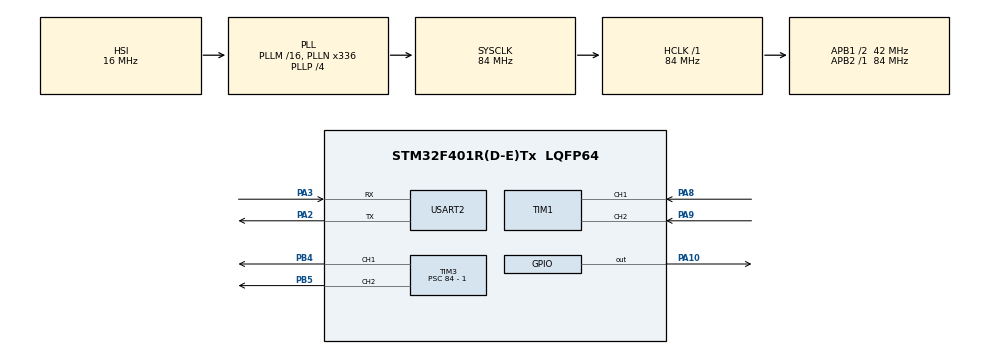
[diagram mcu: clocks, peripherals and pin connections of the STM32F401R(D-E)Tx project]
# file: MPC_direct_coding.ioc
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Mcu.Family=STM32F4
Mcu.Name=STM32F401R(D-E)Tx
Mcu.Package=LQFP64
NVIC.PriorityGroup=NVIC_PRIORITYGROUP_4
PA10.Signal=GPIO_Output
PA2.Mode=Asynchronous
PA2.Signal=USART2_TX
PA3.Mode=Asynchronous
PA3.Signal=USART2_RX
PA8.Signal=S_TIM1_CH1
PA9.Signal=S_TIM1_CH2
PB4.Signal=S_TIM3_CH1
PB5.Signal=S_TIM3_CH2
ProjectManager.HeapSize=0x200
ProjectManager.StackSize=0x400
ProjectManager.TargetToolchain=STM32CubeIDE
RCC.48MHZClocksFreq_Value=84000000
RCC.AHBFreq_Value=84000000
RCC.APB1CLKDivider=RCC_HCLK_DIV2
RCC.APB1Freq_Value=42000000
RCC.APB1TimFreq_Value=84000000
RCC.APB2Freq_Value=84000000
RCC.APB2TimFreq_Value=84000000
RCC.CortexFreq_Value=84000000
RCC.HCLKFreq_Value=84000000
RCC.HSE_VALUE=25000000
RCC.HSI_VALUE=16000000
RCC.LSE_VALUE=32768
RCC.PLLN=336
RCC.PLLP=RCC_PLLP_DIV4
RCC.SYSCLKFreq_VALUE=84000000
RCC.SYSCLKSource=RCC_SYSCLKSOURCE_PLLCLK
RCC.VCOOutputFreq_Value=336000000
SH.S_TIM1_CH1.0=TIM1_CH1,Encoder_Interface
SH.S_TIM1_CH2.0=TIM1_CH2,Encoder_Interface
SH.S_TIM3_CH1.0=TIM3_CH1,PWM Generation1 CH1
SH.S_TIM3_CH2.0=TIM3_CH2,PWM Generation2 CH2
TIM3.AutoReloadPreload=TIM_AUTORELOAD_PRELOAD_ENABLE
TIM3.Channel-PWM\ Generation1\ CH1=TIM_CHANNEL_1
TIM3.Channel-PWM\ Generation2\ CH2=TIM_CHANNEL_2
TIM3.Period=500 - 1
TIM3.Prescaler=84 - 1
USART2.VirtualMode=VM_ASYNC
VP_TIM3_VS_ClockSourceINT.Mode=Internal
board=custom

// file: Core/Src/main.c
/* USER CODE BEGIN Header */
/**
  ******************************************************************************
  * @file           : main.c
  * @brief          : Main program body
  ******************************************************************************
  * @attention
  *
  * Copyright (c) 2022 STMicroelectronics.
  * All rights reserved.
  *
  * This software is licensed under terms that can be found in the LICENSE file
  * in the root directory of this software component.
  * If no LICENSE file comes with this software, it is provided AS-IS.
  *
  ******************************************************************************
  * Digital Control Systems Design project, Model Predictive Control with OSQP, ballast implementation
  * Nicola ROMANO         0622701549  	N.ROMANO24@STUDENTI.UNISA.IT
  * Antonio ROTONDO       0622701489  	A.ROTONDO9@STUDENTI.UNISA.IT
  * Catello SORRENTINO    06227001490 	C.SORRENTINO61@STUDENTI.UNISA.IT
  */
/* USER CODE END Header */
#include "main.h"

/* USER CODE BEGIN Includes */
#include "stdio.h"
#include "stdlib.h"
#include <string.h>
#include "workspace.h"
#include "osqp.h"
#include  <errno.h>
#include  <sys/unistd.h>
#include "math.h"
/* USER CODE END Includes */

 TIM_HandleTypeDef htim1;
TIM_HandleTypeDef htim3;
TIM_HandleTypeDef htim4;

UART_HandleTypeDef huart2;

/* USER CODE BEGIN PV */
double Dumax=3000; // input rate limit
double umax=12;    // max input
double umin=-12;   // min input
double ymax=130;   // max output
double ymin=-130;  // min output

double X[2][5] = {{18.2668,  114.9275,  -11.3576,    0.0000, -103.5699},
                  {16.5646,  103.3782,  -10.2993,    0.0000,  -93.0789}};

double dd[28][1] = {{3000},
                    {3000},
                    {3000},
                    {3000},
                    {12},
                    {12},
                    {12},
                    {12},
                    {130},
                    {130},
                    {130},
                    {130},
                    {130},
                    {130},
                    {130},
                    {130},
                    {130},
                    {130},
                    {130},
                    {130},
                    {130},
                    {130},
                    {130},
                    {130},
                    {130},
                    {130},
                    {130},
                    {130}};

double ddu[28][1] ={{0},
                    {0},
                    {0},
                    {0},
                    {0},
                    {0},
                    {0},
                    {0},
                    {-0.1604},
                    {-0.1764},
                    {-0.1780},
                    {-0.1781},
                    {-0.1782},
                    {-0.1782},
                    {-0.1782},
                    {-0.1782},
                    {-0.1782},
                    {-0.1782},
                    {0.1604},
                    {0.1764},
                    {0.1780},
                    {0.1781},
                    {0.1782},
                    {0.1782},
                    {0.1782},
                    {0.1782},
                    {0.1782},
                    {0.1782}};

double du[28][1] = {{0},
                    {0},
                    {0},
                    {0},
                   {-1},
                   {-1},
                    {1},
                    {1},
                    {0},
                    {0},
                    {0},
                    {0},
                    {0},
                    {0},
                    {0},
                    {0},
                    {0},
                    {0},
                    {0},
                    {0},
                    {0},
                    {0},
                    {0},
                    {0},
                    {0},
                    {0},
                    {0},
                    {0}};

double dy[28][3] = {{0,         0,         0},
                    {0,         0,         0},
                    {0,         0,         0},
                    {0,         0,         0},
                    {0,         0,         0},
                    {0,         0,         0},
                    {0,         0,         0},
                    {0,         0,         0},
              {-1.0997,    0.0997,   -0.0000},
              {-1.1097,    0.1097,   -0.0000},
              {-1.1107,    0.1107,   -0.0000},
              {-1.1108,    0.1108,   -0.0000},
              {-1.1108,    0.1108,   -0.0000},
              {-1.1108,    0.1108,   -0.0000},
              {-1.1108,    0.1108,   -0.0000},
              {-1.1108,    0.1108,   -0.0000},
              {-1.1108,    0.1108,   -0.0000},
              {-1.1108,    0.1108,   -0.0000},
              { 1.0997,   -0.0997,    0.0000},
               {1.1097,   -0.1097,    0.0000},
               {1.1107,   -0.1107,    0.0000},
               {1.1108,   -0.1108,    0.0000},
               {1.1108,   -0.1108,    0.0000},
               {1.1108,   -0.1108,    0.0000},
               {1.1108,   -0.1108,    0.0000},
               {1.1108,   -0.1108,    0.0000},
               {1.1108,   -0.1108,    0.0000},
               {1.1108,   -0.1108,    0.0000}};

double dupast = 0;
double ypast[3][1] = {{0},
					  {0},
					  {0}};

double lastU = 0;
double lastTicks = 0;
double currentTicks = 0;
double Ts = 0.05;
double startTime = 0;
double deltaTime = 0;
double rfut_array[9] = {-130, 80, -60, 30, 0, -30, 60, -80, 200};
long int counterOfIterations = 0;
int reference_index = 0;
/* USER CODE END PV */

void SystemClock_Config(void);
static void MX_GPIO_Init(void);
static void MX_USART2_UART_Init(void);
static void MX_TIM3_Init(void);
static void MX_TIM1_Init(void);

/* USER CODE BEGIN 0 */

//overwrite of printf to write on USART
int _write(int file, char *data, int len) {
	if ((file != STDOUT_FILENO) && (file != STDERR_FILENO)) {
		errno = EBADF;
		return -1;
	}

	// arbitrary timeout 1000
	HAL_StatusTypeDef status = HAL_UART_Transmit(&huart2, (uint8_t*) data, len,
			1000);

	// return # of bytes written - as best we can tell
	return (status == HAL_OK ? len : 0);
}

// upddate ypast matrix
void update_ypast(double val){
    ypast[2][0] = ypast[1][0];
    ypast[1][0] = ypast[0][0];
    ypast[0][0] = val;
}

// set PWM
void setPulseFromDutyValue(double dutyVal) {
	HAL_GPIO_WritePin(GPIOA, GPIO_PIN_10, GPIO_PIN_SET); // enable the motor driver

	uint16_t channelToModulate;
	uint16_t channelToStop;

	if (dutyVal > 0) {
		channelToModulate = TIM_CHANNEL_1;
		channelToStop = TIM_CHANNEL_2;
	} else {
		channelToModulate = TIM_CHANNEL_2;
		channelToStop = TIM_CHANNEL_1;
	}
	__HAL_TIM_SET_COMPARE(&htim3, channelToStop, 0);
	__HAL_TIM_SET_COMPARE(&htim3, channelToModulate, (abs(dutyVal) * ((double )htim3.Init.Period)) / 100); //cast integer value to double to correctly perform division between decimal numbers
}

// get speed by ticks
double getSpeedByDelta(double ticksDelta, double Ts) {
	return ticksDelta * 60 / (3591.84 * Ts);
}

// get ticks in the delta time
double getTicksDelta(double currentTicks, double lastTicks, double Ts) {
	double delta;

	if (abs(currentTicks - lastTicks) <= ceil(8400 * Ts))
		delta = currentTicks - lastTicks;
	else {
		if (lastTicks > currentTicks)
			delta = currentTicks + pow(2, 16) - 1 - lastTicks;
		else
			delta = currentTicks - pow(2, 16) + 1 - lastTicks;
	}
	return delta;
}

// matrix sum
void matsum(int row, int col, double mat1[row][col], double mat2[row][col], double result[row][col]){
   //pre-checks
   assert(row > 0);
   assert(col > 0);

   //function
   for(int i = 0; i<row; i++){
      for(int j = 0; j<col; j++){
         result[i][j] = mat1[i][j] + mat2[i][j];
      }
   }
}

// matrix * scalar product
void scalprod(int row, int col, double scalar, double mat[row][col], double result[row][col]){
   //pre-checks
   assert(row > 0);
   assert(col > 0);

   //function
   for(int i = 0; i<row; i++){
      for(int j = 0; j<col; j++){
         result[i][j] = mat[i][j] * scalar;
      }
   }
}

//matrix product
void matprod(int row1,int col1,int row2,int col2, double mat1[row1][col1], double mat2[row2][col2], double result[row1][col2]){
   //pre-checks
   assert(row1 > 0);
   assert(col1 > 0);
   assert(row2 > 0);
   assert(col2 > 0);
   assert(col1 == row2);

   //function
   for(int i = 0; i < row1; ++i){
      for(int j = 0; j < col2; ++j) {
         int x = 0;
         for(int k = 0; k < row2; ++k){
            x += mat1[i][k] * mat2[k][j];
         }
         result[i][j] = x;
      }
   }
}
/* USER CODE END 0 */

int main(void)
{

  /* MCU Configuration--------------------------------------------------------*/

  /* Reset of all peripherals, Initializes the Flash interface and the Systick. */
  HAL_Init();

  /* Configure the system clock */
  SystemClock_Config();

  /* Initialize all configured peripherals */
  MX_GPIO_Init();
  MX_USART2_UART_Init();
  MX_TIM3_Init();
  MX_TIM1_Init();
  /* USER CODE BEGIN 2 */
  HAL_TIM_PWM_Start(&htim3, TIM_CHANNEL_1);
  HAL_TIM_PWM_Start(&htim3, TIM_CHANNEL_2);
  HAL_TIM_Base_Start(&htim1);
  /* USER CODE END 2 */

  /* Infinite loop */
  /* USER CODE BEGIN WHILE */
  int rfut = rfut_array[0];

  while (1)
    {
      /* USER CODE END WHILE */

      /* USER CODE BEGIN 3 */
  	  startTime = (double) HAL_GetTick();

  	  //code to change the reference every 2.5 seconds
  	  if(counterOfIterations >= 50){
  		 reference_index++;
  		 counterOfIterations = 0;
		 rfut = rfut_array[(reference_index) % 9];
  	  }

  	  printf(" Required speed: %d RPM\n\r", rfut);

  	  //take current value of ticks, calculate speed, update ypast matrix
  	  currentTicks = (double) __HAL_TIM_GET_COUNTER(&htim1);
  	  double speed = getSpeedByDelta(getTicksDelta(currentTicks, lastTicks, deltaTime/1000), deltaTime/1000);
  	  printf(" Actual speed: %3.2f RPM\n\r", speed);
  	  update_ypast(speed);

  	  //solve the MPC problem

  	  //du*lastU
  	  double p1[28][1];
  	  scalprod(28, 1, lastU, du, p1);

  	  //ddu*Dupast
  	  double p2[28][1];
  	  scalprod(28,1,dupast,ddu,p2);

  	  //dy*ypast
  	  double p3[28][1];
  	  matprod(28,3,3,1,dy,ypast,p3);

  	  //dt = dd+du*lastU+ddu*Dupast+dy*ypast;
  	  double dt[28][1];
  	  matsum(28,1,p1,p2,dt);
  	  matsum(28,1,dt,p3,dt);
  	  matsum(28,1,dt,dd,dt);

  	  //f=X*[Dupast;ypast;rfut];
  	  double p4[5][1] = {{dupast},
  	  			  {ypast[0][0]},
  	  			  {ypast[1][0]},
  	  			  {ypast[2][0]},
  	  					{rfut}};

  	  double f[2][1] = {{0}, {0}};
  	  matprod(2,5,5,1,X,p4,f);

  	  //update the problem
  	  osqp_update_lin_cost(&workspace, (c_float *) f);
  	  osqp_update_upper_bound(&workspace, (c_float *) dt);

  	  //solve the problem
  	  osqp_solve(&workspace);

  	  //take the solution
  	  double u = (double)(&workspace)->solution->x[0] + lastU;
  	  printf(" u from OSQP: %3.2f V\n\r", u);

  	  //check bounds
  	  if(u > umax){
  	  	u = umax;
  	  }
  	  if(u < umin){
  	  	u = umin;
  	  }
  	  if(u - lastU > Dumax){
  	  	u = lastU + Dumax;
  	  }

  	  //apply u
  	  setPulseFromDutyValue(u * 100 / 12);
  	  printf(" u applied: %3.2f V\n\r", u);

  	  //calculate the osqp execution time
  	  deltaTime = (double) HAL_GetTick() - startTime; //end time - startTime
  	  printf(" OSQP exec time: %3.0f ms \n\r", deltaTime);

  	  //update values for next iteration
  	  dupast = u - lastU;
  	  lastU = u;

  	  // wait that the iteration takes 50 ms to respect the sample time
  	  while(deltaTime < Ts*1000){
  		  //idle
  		  deltaTime = (double) HAL_GetTick() - startTime;
  	  }

  	  //update for next iteration
  	  lastTicks = currentTicks;
  	  counterOfIterations++;

  	  //useful to check if the execution took too much time and exceeded Ts
  	  deltaTime = (double) HAL_GetTick() - startTime; //execution time
  	  printf(" Total exec time: %3.0f ms \n\n\r", deltaTime);
  	  }
  /* USER CODE END 3 */
}

void SystemClock_Config(void)
{
  RCC_OscInitTypeDef RCC_OscInitStruct = {0};
  RCC_ClkInitTypeDef RCC_ClkInitStruct = {0};

  /** Configure the main internal regulator output voltage
  */
  __HAL_RCC_PWR_CLK_ENABLE();
  __HAL_PWR_VOLTAGESCALING_CONFIG(PWR_REGULATOR_VOLTAGE_SCALE2);

  /** Initializes the RCC Oscillators according to the specified parameters
  * in the RCC_OscInitTypeDef structure.
  */
  RCC_OscInitStruct.OscillatorType = RCC_OSCILLATORTYPE_HSI;
  RCC_OscInitStruct.HSIState = RCC_HSI_ON;
  RCC_OscInitStruct.HSICalibrationValue = RCC_HSICALIBRATION_DEFAULT;
  RCC_OscInitStruct.PLL.PLLState = RCC_PLL_ON;
  RCC_OscInitStruct.PLL.PLLSource = RCC_PLLSOURCE_HSI;
  RCC_OscInitStruct.PLL.PLLM = 16;
  RCC_OscInitStruct.PLL.PLLN = 336;
  RCC_OscInitStruct.PLL.PLLP = RCC_PLLP_DIV4;
  RCC_OscInitStruct.PLL.PLLQ = 4;
  if (HAL_RCC_OscConfig(&RCC_OscInitStruct) != HAL_OK)
  {
    Error_Handler();
  }

  /** Initializes the CPU, AHB and APB buses clocks
  */
  RCC_ClkInitStruct.ClockType = RCC_CLOCKTYPE_HCLK|RCC_CLOCKTYPE_SYSCLK
                              |RCC_CLOCKTYPE_PCLK1|RCC_CLOCKTYPE_PCLK2;
  RCC_ClkInitStruct.SYSCLKSource = RCC_SYSCLKSOURCE_PLLCLK;
  RCC_ClkInitStruct.AHBCLKDivider = RCC_SYSCLK_DIV1;
  RCC_ClkInitStruct.APB1CLKDivider = RCC_HCLK_DIV2;
  RCC_ClkInitStruct.APB2CLKDivider = RCC_HCLK_DIV1;

  if (HAL_RCC_ClockConfig(&RCC_ClkInitStruct, FLASH_LATENCY_2) != HAL_OK)
  {
    Error_Handler();
  }
}

static void MX_TIM1_Init(void)
{

  TIM_Encoder_InitTypeDef sConfig = {0};
  TIM_MasterConfigTypeDef sMasterConfig = {0};

  htim1.Instance = TIM1;
  htim1.Init.Prescaler = 0;
  htim1.Init.CounterMode = TIM_COUNTERMODE_UP;
  htim1.Init.Period = 65535;
  htim1.Init.ClockDivision = TIM_CLOCKDIVISION_DIV1;
  htim1.Init.RepetitionCounter = 0;
  htim1.Init.AutoReloadPreload = TIM_AUTORELOAD_PRELOAD_DISABLE;
  sConfig.EncoderMode = TIM_ENCODERMODE_TI12;
  sConfig.IC1Polarity = TIM_ICPOLARITY_RISING;
  sConfig.IC1Selection = TIM_ICSELECTION_DIRECTTI;
  sConfig.IC1Prescaler = TIM_ICPSC_DIV1;
  sConfig.IC1Filter = 0;
  sConfig.IC2Polarity = TIM_ICPOLARITY_RISING;
  sConfig.IC2Selection = TIM_ICSELECTION_DIRECTTI;
  sConfig.IC2Prescaler = TIM_ICPSC_DIV1;
  sConfig.IC2Filter = 0;
  if (HAL_TIM_Encoder_Init(&htim1, &sConfig) != HAL_OK)
  {
    Error_Handler();
  }
  sMasterConfig.MasterOutputTrigger = TIM_TRGO_RESET;
  sMasterConfig.MasterSlaveMode = TIM_MASTERSLAVEMODE_DISABLE;
  if (HAL_TIMEx_MasterConfigSynchronization(&htim1, &sMasterConfig) != HAL_OK)
  {
    Error_Handler();
  }

}

static void MX_TIM3_Init(void)
{

  TIM_ClockConfigTypeDef sClockSourceConfig = {0};
  TIM_MasterConfigTypeDef sMasterConfig = {0};
  TIM_OC_InitTypeDef sConfigOC = {0};

  htim3.Instance = TIM3;
  htim3.Init.Prescaler = 84 - 1;
  htim3.Init.CounterMode = TIM_COUNTERMODE_UP;
  htim3.Init.Period = 500 - 1;
  htim3.Init.ClockDivision = TIM_CLOCKDIVISION_DIV1;
  htim3.Init.AutoReloadPreload = TIM_AUTORELOAD_PRELOAD_ENABLE;
  if (HAL_TIM_Base_Init(&htim3) != HAL_OK)
  {
    Error_Handler();
  }
  sClockSourceConfig.ClockSource = TIM_CLOCKSOURCE_INTERNAL;
  if (HAL_TIM_ConfigClockSource(&htim3, &sClockSourceConfig) != HAL_OK)
  {
    Error_Handler();
  }
  if (HAL_TIM_PWM_Init(&htim3) != HAL_OK)
  {
    Error_Handler();
  }
  sMasterConfig.MasterOutputTrigger = TIM_TRGO_RESET;
  sMasterConfig.MasterSlaveMode = TIM_MASTERSLAVEMODE_DISABLE;
  if (HAL_TIMEx_MasterConfigSynchronization(&htim3, &sMasterConfig) != HAL_OK)
  {
    Error_Handler();
  }
  sConfigOC.OCMode = TIM_OCMODE_PWM1;
  sConfigOC.Pulse = 0;
  sConfigOC.OCPolarity = TIM_OCPOLARITY_HIGH;
  sConfigOC.OCFastMode = TIM_OCFAST_DISABLE;
  if (HAL_TIM_PWM_ConfigChannel(&htim3, &sConfigOC, TIM_CHANNEL_1) != HAL_OK)
  {
    Error_Handler();
  }
  if (HAL_TIM_PWM_ConfigChannel(&htim3, &sConfigOC, TIM_CHANNEL_2) != HAL_OK)
  {
    Error_Handler();
  }
  HAL_TIM_MspPostInit(&htim3);

}

static void MX_USART2_UART_Init(void)
{

  huart2.Instance = USART2;
  huart2.Init.BaudRate = 115200;
  huart2.Init.WordLength = UART_WORDLENGTH_8B;
  huart2.Init.StopBits = UART_STOPBITS_1;
  huart2.Init.Parity = UART_PARITY_NONE;
  huart2.Init.Mode = UART_MODE_TX_RX;
  huart2.Init.HwFlowCtl = UART_HWCONTROL_NONE;
  huart2.Init.OverSampling = UART_OVERSAMPLING_16;
  if (HAL_UART_Init(&huart2) != HAL_OK)
  {
    Error_Handler();
  }

}

static void MX_GPIO_Init(void)
{
  GPIO_InitTypeDef GPIO_InitStruct = {0};

  /* GPIO Ports Clock Enable */
  __HAL_RCC_GPIOA_CLK_ENABLE();
  __HAL_RCC_GPIOB_CLK_ENABLE();

  /*Configure GPIO pin Output Level */
  HAL_GPIO_WritePin(GPIOA, GPIO_PIN_10, GPIO_PIN_RESET);

  /*Configure GPIO pin : PA10 */
  GPIO_InitStruct.Pin = GPIO_PIN_10;
  GPIO_InitStruct.Mode = GPIO_MODE_OUTPUT_PP;
  GPIO_InitStruct.Pull = GPIO_NOPULL;
  GPIO_InitStruct.Speed = GPIO_SPEED_FREQ_LOW;
  HAL_GPIO_Init(GPIOA, &GPIO_InitStruct);
}

void Error_Handler(void)
{
  __disable_irq();
  while (1)
  {
  }
}
